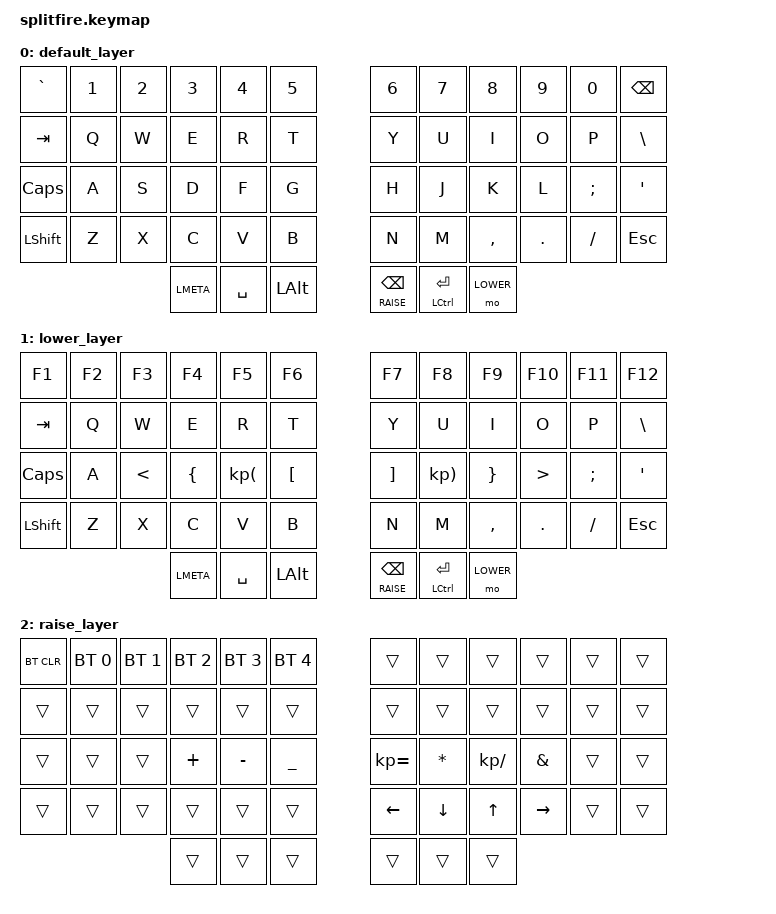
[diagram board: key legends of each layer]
/*
 * Copyright (c) 2020 The ZMK Contributors
 *
 * SPDX-License-Identifier: MIT
 */
#include <behaviors.dtsi>
#include <dt-bindings/zmk/keys.h>
#include <dt-bindings/zmk/bt.h>
#define DEFAULT 0
#define LOWER 1
#define RAISE 2

&lt{
    tapping-term-ms = <100>;
};

/ {

        keymap {
                compatible = "zmk,keymap";

                default_layer {
// -----------------------------------------------------------------------------------------
// |  TAB |  Q  |  W  |  E  |  R  |  T  |   |  Y  |  U   |  I  |  O  |  P  | BSPC |
// |  TAB |  Q  |  W  |  E  |  R  |  T  |   |  Y  |  U   |  I  |  O  |  P  | BSPC |
// | CTRL |  A  |  S  |  D  |  F  |  G  |   |  H  |  J   |  K  |  L  |  ;  |  '   |
// | SHFT |  Z  |  X  |  C  |  V  |  B  |   |  N  |  M   |  ,  |  .  |  /  | ESC  |
//                    | GUI | LWR | SPC |   | ENT | RSE  | ALT |
                        bindings = <
  &kp GRAVE &kp N1 &kp N2 &kp N3 &kp N4 &kp N5            &kp N6         &kp N7  &kp N8     &kp N9   &kp N0    &kp BSPC
  &kp TAB   &kp Q  &kp W  &kp E  &kp R  &kp T /**/        &kp Y          &kp U   &kp I      &kp O    &kp P     &kp BSLH
  &kp CAPS  &kp A  &kp S  &kp D  &kp F  &kp G /*Home Row*/&kp H          &kp J   &kp K      &kp L    &kp SEMI  &kp SQT
  &kp LSHFT &kp Z  &kp X  &kp C  &kp V  &kp B             &kp N          &kp M   &kp COMMA  &kp DOT  &kp FSLH  &kp ESC
                 &kp LMETA &kp SPACE &kp LALT             &lt RAISE BSPC &mt LCTRL RET &mo LOWER
                        >;
                };
                lower_layer {
// -----------------------------------------------------------------------------------------
// |  TAB |  1  |  2  |  3  |  4  |  5  |   |  6  |  7  |  8  |  9  |  0  | BSPC |
// | BTCLR| BT1 | BT2 | BT3 | BT4 | BT5 |   | LFT | DWN |  UP | RGT |     |      |
// | SHFT |     |     |     |     |     |   |     |     |     |     |     |      |
//                    | GUI |     | SPC |   | ENT |     | ALT |
                        bindings = <
   &kp F1    &kp F2 &kp F3 &kp F4    &kp F5    &kp F6                             &kp F7         &kp F8        &kp F9     &kp F10   &kp F11   &kp F12
   &kp TAB   &kp Q  &kp W  &kp E     &kp R     &kp T /**/                         &kp Y          &kp U         &kp I      &kp O     &kp P     &kp BSLH
   &kp CAPS  &kp A  &kp LT &kp LBRC  &kp KP_LPAR  &kp LBKT /*Home Row*/           &kp RBKT       &kp KP_RPAR   &kp RBRC   &kp GT    &kp SEMI  &kp SQT
   &kp LSHFT &kp Z  &kp X  &kp C     &kp V     &kp B                              &kp N          &kp M         &kp COMMA  &kp DOT   &kp FSLH  &kp ESC
                           &kp LMETA &kp SPACE &kp LALT                           &lt RAISE BSPC &mt LCTRL RET &mo LOWER
                        >;
                };

                raise_layer {
// -----------------------------------------------------------------------------------------
// |  TAB |  !  |  @  |  #  |  $  |  %  |   |  ^  |  &  |  *  |  (  |  )  | BSPC |
// | CTRL |     |     |     |     |     |   |  -  |  =  |  [  |  ]  |  \  |  `   |
// | SHFT |     |     |     |     |     |   |  _  |  +  |  {  |  }  | "|" |  ~   |
//                    | GUI |     | SPC |   | ENT |     | ALT |
                        bindings = <
  &bt BT_CLR &bt BT_SEL 0 &bt BT_SEL 1 &bt BT_SEL 2 &bt BT_SEL 3 &bt BT_SEL 4           &trans        &trans   &trans       &trans   &trans &trans
  &trans &trans       &trans       &trans       &trans       &trans                     &trans        &trans   &trans       &trans    &trans &trans
  &trans &trans       &trans       &kp PLUS     &kp MINUS    &kp UNDER /*Home Row*/     &kp KP_EQUAL  &kp STAR &kp KP_SLASH &kp AMPS  &trans &trans
  &trans &trans       &trans       &trans       &trans       &trans                     &kp LEFT      &kp DOWN &kp UP       &kp RIGHT   &trans &trans
                          &trans &trans &trans                                          &trans        &trans   &trans
                        >;
                };
        };
};

